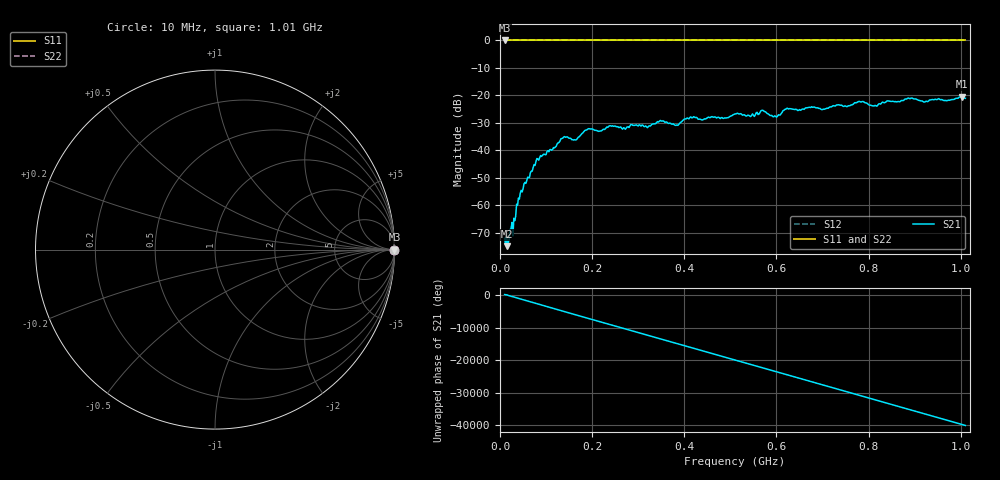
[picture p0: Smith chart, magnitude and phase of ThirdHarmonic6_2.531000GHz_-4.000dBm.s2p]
! 8/17/2025 5:02:47 AM
! C:\ANRITSUVNA\TEMP\TEMP.S2P
! CHANNEL.1
! TR.MEASUREMENT
! RAW.DATA
! RF.CORRECTION.OFF
! AVERAGING.OFF
! IF.BANDWIDTH: 5KHZ
! SWEEPTYPE:  FREQ.SWEEP(Linear)
! Reference Plane Port Info
! PORT:  PORT1  PORT2
! DISTANCE:  0  m  0  m
! TIME:  0  s  0  s
! PHASE.OFFSET:  0  deg.  0  deg.
! LOSS:  0  dB  0  dB
! REF.LOSS:  0  dB  0  dB
! REF.FREQ:  0  Hz  0  Hz
! Power Info
! POWER:  -20  dBm  -20  dBm
! EFF.POWER:  -20  dBm  -20  dBm
! SOURCE.ATTEN:  0  dB  0  dB
! TEST.ATTEN:  0  dB  0  dB
# GHZ S RI R 50.0
! FREQ.GHZ  S11RE  S11IM  S21RE  S21IM  S12RE  S12IM  S22RE  S22IM
!; PortSelection: Port_12
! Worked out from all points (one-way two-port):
!   501 points, 10 MHz to 1.01 GHz, reference 50 ohm
!   highest |S21| = -20.48 dB at 1.002 GHz (marker M1); lowest = -74.9 dB at 16 MHz (marker M2)
!   lowest |S11| = 0.0 dB at 10 MHz (marker M3)
!   |S11| at or under -10 dB: nowhere
!   |S22| runs from 0.0 to 0.0 dB; largest |S21 - S12| = 1.1
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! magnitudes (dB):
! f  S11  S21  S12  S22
! 10 MHz  0.0  -72.0  0.0  0.0
! 16 MHz  0.0  -74.9  0.0  0.0
! 30 MHz  0.0  -64.7  0.0  0.0
! 44 MHz  0.0  -55.5  0.0  0.0
! 78 MHz  0.0  -44.1  0.0  0.0
! 136 MHz  0.0  -35.6  0.0  0.0
! 162 MHz  0.0  -36.1  0.0  0.0
! 178 MHz  0.0  -33.9  0.0  0.0
! 194 MHz  0.0  -32.1  0.0  0.0
! 344 MHz  0.0  -29.7  0.0  0.0
! 384 MHz  0.0  -30.8  0.0  0.0
! 416 MHz  0.0  -28.1  0.0  0.0
! 510 MHz  0.0  -26.8  0.0  0.0
! 570 MHz  0.0  -25.4  0.0  0.0
! 598 MHz  0.0  -27.6  0.0  0.0
! 622 MHz  0.0  -24.7  0.0  0.0
! 678 MHz  0.0  -24.3  0.0  0.0
! 782 MHz  0.0  -22.3  0.0  0.0
! 814 MHz  0.0  -23.6  0.0  0.0
! 844 MHz  0.0  -22.0  0.0  0.0
! 1.002 GHz  0.0  -20.5  0.0  0.0
! 1.01 GHz  0.0  -21.1  0.0  0.0
